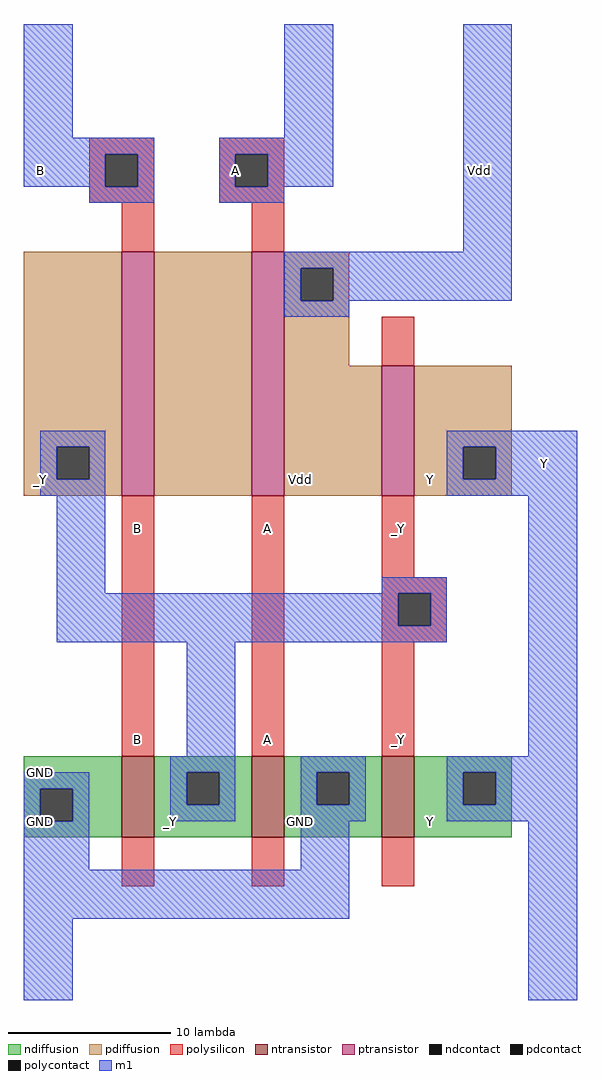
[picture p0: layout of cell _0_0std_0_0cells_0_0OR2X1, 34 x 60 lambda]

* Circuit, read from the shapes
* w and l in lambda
.subckt _0_0std_0_0cells_0_0OR2X1 GND Vdd B Y A
M1 _Y B GND VSUBS nfet w=5 l=2
M2 GND A _Y VSUBS nfet w=5 l=2
M3 Y _Y GND VSUBS nfet w=5 l=2
M4 n1 B _Y NWELL pfet w=15 l=2
M5 Vdd A n1 NWELL pfet w=15 l=2
M6 Y _Y Vdd NWELL pfet w=8 l=2
.ends

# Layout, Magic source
magic
tech TSMC180
<< ndiffusion >>
rect 6 10 12 12
rect 6 8 7 10
rect 9 8 12 10
rect 6 7 12 8
rect 14 11 20 12
rect 14 9 16 11
rect 18 9 20 11
rect 14 7 20 9
rect 22 11 28 12
rect 22 9 24 11
rect 26 9 28 11
rect 22 7 28 9
rect 30 11 36 12
rect 30 9 33 11
rect 35 9 36 11
rect 30 7 36 9
<< ndcontact >>
rect 7 8 9 10
rect 16 9 18 11
rect 24 9 26 11
rect 33 9 35 11
<< ntransistor >>
rect 12 7 14 12
rect 20 7 22 12
rect 28 7 30 12
<< pdiffusion >>
rect 6 31 12 43
rect 6 29 8 31
rect 10 29 12 31
rect 6 28 12 29
rect 14 28 20 43
rect 22 42 26 43
rect 22 40 23 42
rect 25 40 26 42
rect 22 36 26 40
rect 22 28 28 36
rect 30 31 36 36
rect 30 29 33 31
rect 35 29 36 31
rect 30 28 36 29
<< pdcontact >>
rect 8 29 10 31
rect 23 40 25 42
rect 33 29 35 31
<< ptransistor >>
rect 12 28 14 43
rect 20 28 22 43
rect 28 28 30 36
<< polysilicon >>
rect 10 49 14 50
rect 10 47 11 49
rect 13 47 14 49
rect 10 46 14 47
rect 18 49 22 50
rect 18 47 19 49
rect 21 47 22 49
rect 18 46 22 47
rect 12 43 14 46
rect 20 43 22 46
rect 28 36 30 39
rect 12 12 14 28
rect 20 12 22 28
rect 28 23 30 28
rect 28 22 32 23
rect 28 20 29 22
rect 31 20 32 22
rect 28 19 32 20
rect 28 12 30 19
rect 12 4 14 7
rect 20 4 22 7
rect 28 4 30 7
<< polycontact >>
rect 11 47 13 49
rect 19 47 21 49
rect 29 20 31 22
<< m1 >>
rect 6 50 9 57
rect 22 50 25 57
rect 6 49 14 50
rect 6 47 11 49
rect 13 47 14 49
rect 10 46 14 47
rect 18 49 25 50
rect 18 47 19 49
rect 21 47 25 49
rect 18 46 22 47
rect 33 43 36 57
rect 22 42 36 43
rect 22 40 23 42
rect 25 40 36 42
rect 22 39 26 40
rect 7 31 11 32
rect 7 29 8 31
rect 10 29 11 31
rect 7 28 11 29
rect 32 31 40 32
rect 32 29 33 31
rect 35 29 40 31
rect 32 28 40 29
rect 8 22 11 28
rect 28 22 32 23
rect 8 20 29 22
rect 31 20 32 22
rect 8 19 32 20
rect 16 12 19 19
rect 37 12 40 28
rect 15 11 19 12
rect 6 10 10 11
rect 6 8 7 10
rect 9 8 10 10
rect 15 9 16 11
rect 18 9 19 11
rect 15 8 19 9
rect 23 11 27 12
rect 23 9 24 11
rect 26 9 27 11
rect 23 8 27 9
rect 32 11 40 12
rect 32 9 33 11
rect 35 9 40 11
rect 32 8 40 9
rect 6 5 10 8
rect 23 5 26 8
rect 6 2 26 5
rect 6 -3 9 2
rect 37 -3 40 8
<< labels >>
rlabel pdiffusion 31 29 31 29 3 Y
rlabel ndiffusion 31 8 31 8 3 Y
rlabel polysilicon 29 13 29 13 3 _Y
rlabel polysilicon 29 26 29 26 3 _Y
rlabel ndiffusion 23 8 23 8 3 GND
rlabel pdiffusion 23 29 23 29 3 Vdd
rlabel polysilicon 21 13 21 13 3 A
rlabel polysilicon 21 26 21 26 3 A
rlabel ndiffusion 15 8 15 8 3 _Y
rlabel polysilicon 13 13 13 13 3 B
rlabel polysilicon 13 26 13 26 3 B
rlabel ndiffusion 7 8 7 8 3 GND
rlabel pdiffusion 7 29 7 29 3 _Y
rlabel m1 19 48 19 48 3 A
port 5 e
rlabel m1 7 48 7 48 3 B
port 3 e
rlabel m1 7 11 7 11 3 GND
port 1 e
rlabel m1 38 30 38 30 3 Y
port 4 e
rlabel m1 34 48 34 48 3 Vdd
port 2 e
<< end >>
